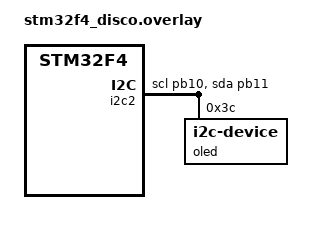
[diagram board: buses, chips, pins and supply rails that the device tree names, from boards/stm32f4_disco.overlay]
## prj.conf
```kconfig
CONFIG_I2C=y
CONFIG_PRINTK=y
CONFIG_SERIAL=y
CONFIG_CONSOLE=y
```

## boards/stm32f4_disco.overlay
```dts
&i2c2 {
    status = "okay";
	pinctrl-0 = < &i2c2_scl_pb10 &i2c2_sda_pb11 >;
	pinctrl-names = "default";
	
    oled_ssd1306: oled@3c {
        compatible = "i2c-device";
        reg = <0x3C>;
        label = "oled";
    };
};
```

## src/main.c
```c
#include <zephyr/kernel.h>
#include <zephyr/device.h>
#include <zephyr/drivers/i2c.h>
#include <zephyr/sys/printk.h>

/*Get the pointer of device tree node */
#define RTC_NODE DT_NODELABEL(oled_ssd1306)

/* Get the 'reg' property value from the device tree node */
#define RTC_ADDR DT_REG_ADDR(RTC_NODE)

static const struct device *i2c_dev = DEVICE_DT_GET(DT_BUS(RTC_NODE));

void i2c_scan_bus(const struct device *i2c_dev)
{
    int ret;
    uint8_t addr = 0;
    printk("Scanning I2C bus...\n");

    for (addr = 0x00; addr <= 0xFE; addr++) {
        /* zero-length write = address probe */
        ret = i2c_write(i2c_dev, NULL, 0, addr);
        if (ret == 0) {
            printk("Found device at 0x%02X\n", addr);
        }
    }

    printk("Scan done\n");
}

int main(void)
{
    if (!device_is_ready(i2c_dev)) {
        printk("I2C device not ready\n");
        return 0;
    }
	
	i2c_scan_bus(i2c_dev);
	
	while(1) {
		
	}
	
   return 0; 
}
```
